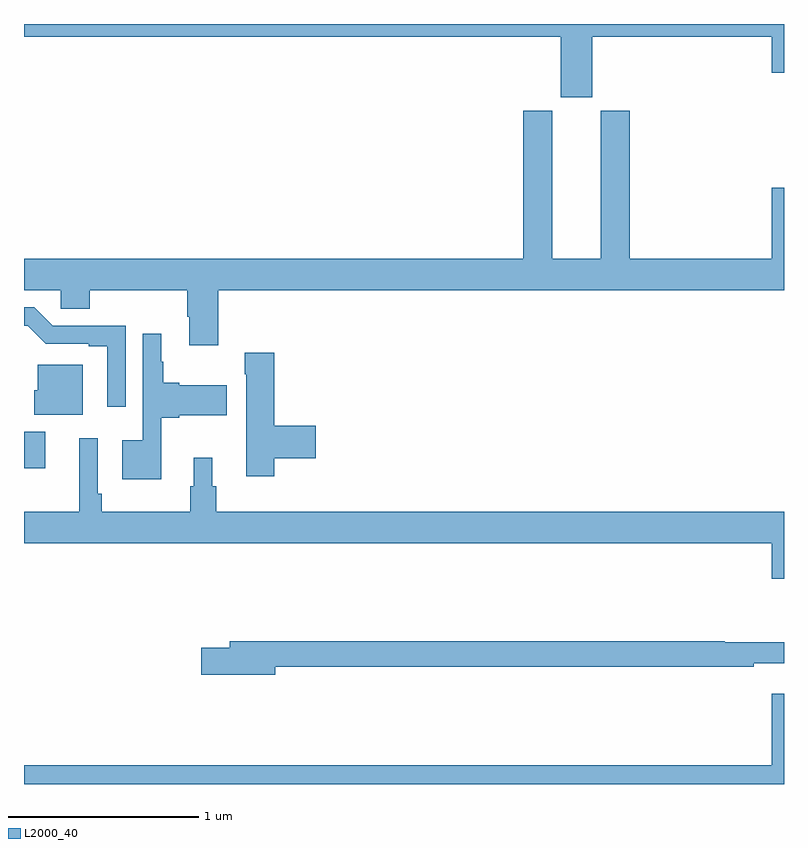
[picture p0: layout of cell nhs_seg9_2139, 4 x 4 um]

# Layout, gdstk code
import gdstk
lib = gdstk.Library(unit=1e-6, precision=1e-09)
def P(c, l, *ps):  # polygons
    for p in ps: c.add(gdstk.Polygon(p, *l))
L2000_40 = (2000, 40)

nhs_seg9_2139 = lib.new_cell('nhs_seg9_2139')
P(nhs_seg9_2139, L2000_40, [(235.99,1184.432),(236.936,1184.432),(236.936,1184.244),(237,1184.244),(237,1184.5),(233,1184.5),(233,1184.432),(235.826,1184.432),(235.826,1184.115),(235.99,1184.115)],
  [(234.023,1183.1),(237,1183.1),(237,1183.639),(236.936,1183.639),(236.936,1183.264),(236.189,1183.264),(236.189,1184.043),(236.036,1184.043),(236.036,1183.264),(235.78,1183.264),(235.78,1184.043),(235.628,1184.043),(235.628,1183.264),(233,1183.264),(233,1183.1),(233.193,1183.1),(233.193,1183.002),(233.345,1183.002),(233.345,1183.1),(233.858,1183.1),(233.858,1182.958),(233.87,1182.958),(233.87,1182.81),(234.023,1182.81)],
  [(233.535,1182.912),(233.151,1182.912),(233.055,1183.008),(233,1183.008),(233,1182.912),(233.019,1182.912),(233.115,1182.816),(233.342,1182.816),(233.342,1182.804),(233.438,1182.804),(233.438,1182.486),(233.535,1182.486)],
  [(233.722,1182.428),(233.818,1182.428),(233.818,1182.44),(234.067,1182.44),(234.067,1182.598),(233.818,1182.598),(233.818,1182.611),(233.734,1182.611),(233.734,1182.722),(233.722,1182.722),(233.722,1182.871),(233.625,1182.871),(233.625,1182.31),(233.516,1182.31),(233.516,1182.104),(233.722,1182.104)],
  [(234.317,1182.215),(234.535,1182.215),(234.535,1182.386),(234.317,1182.386),(234.317,1182.769),(234.163,1182.769),(234.163,1182.656),(234.17,1182.656),(234.17,1182.12),(234.317,1182.12)],
  [(233.308,1182.706),(233.072,1182.706),(233.072,1182.573),(233.054,1182.573),(233.054,1182.443),(233.308,1182.443)],
  [(233.111,1182.354),(233,1182.354),(233,1182.258),(233.002,1182.258),(233.002,1182.162),(233.111,1182.162)],
  [(237,1181.932),(234.011,1181.932),(234.011,1182.066),(233.992,1182.066),(233.992,1182.217),(233.894,1182.217),(233.894,1182.066),(233.875,1182.066),(233.875,1181.932),(233.408,1181.932),(233.408,1182.028),(233.388,1182.028),(233.388,1182.319),(233.291,1182.319),(233.291,1181.932),(233,1181.932),(233,1181.768),(236.936,1181.768),(236.936,1181.58),(237,1181.58)],
  [(234.322,1181.116),(236.84,1181.116),(236.84,1181.135),(237,1181.135),(237,1181.245),(236.687,1181.245),(236.687,1181.252),(234.083,1181.252),(234.083,1181.216),(233.934,1181.216),(233.934,1181.074),(234.322,1181.074)],
  [(237,1180.975),(236.936,1180.975),(236.936,1180.6),(233,1180.6),(233,1180.5),(237,1180.5)])

lib.write_gds('nhs_seg9_2139.gds')
